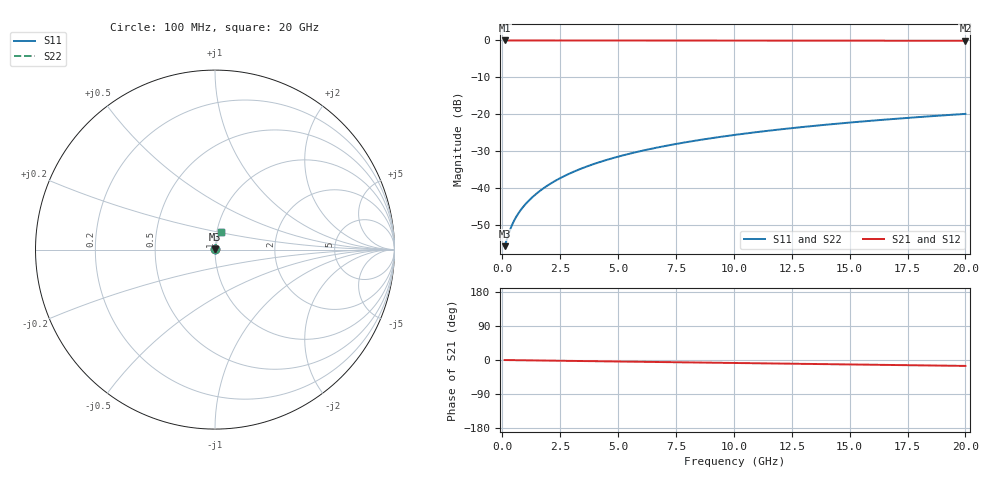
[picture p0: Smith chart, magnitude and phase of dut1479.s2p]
! Touchstone file exported from HFSS 2026.1.0
!  File:  C:/ffzhzh/LocalFiles/Ansys_Project_Files/temp_train_BSMRDL_1479_1783181296_22436.aedt
!  Generated:  12:09:28 AM Jul  5, 2026
!  Design:  BSMRDL
!  Project:  temp_train_BSMRDL_1479_1783181296_22436
! Variables:
!  h_bsmrdl = 2.49um
!  h_ox = 20um
!  h_rdl = 5um
!  h_sub = 80um
!  h_tmrdl = 5um
!  h_tsv = 80um
!  h_via = 3um
!  l_bsmrdl = 227.97um
!  l_sub = 627.97um
!  l_tmrdl = 200um
!  m_sub = 200um
!  pitch = 40.95um
!  r_tsv = 6um
!  s_tmrdl = 10um
!  w_bsmrdl = 28.77um
!  w_sub = 500um
!  w_tmrdl = 12um
!  x_tsv_center1 = 206um
!  x_tsv_center2 = 462.74um
!  x_tsv_center3 = 674.74um
!  x_tsv_center4 = 931.48um
!  x_tsv_center5 = 1143.48um
!  x_tsv_center6 = 1400.22um
# GHz S MA R 50.000000
! Terminal data exported
! Port[1] = BSM_RDL1_1_T1
! Port[2] = BSM_RDL1_1_T2
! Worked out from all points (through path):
!   200 points, 100 MHz to 20 GHz, reference 50 ohm
!   highest |S21| = -0.01 dB at 100 MHz (marker M1); lowest = -0.1 dB at 20 GHz (marker M2)
!   group delay of S21, straight-line fit = 2.17 ps
!   lowest |S11| = -55.6 dB at 100 MHz (marker M3), VSWR 1.00, Z = 50.2 + j0.0685 ohm
!   |S11| at or under -10 dB: start of sweep to end of sweep
!   |S22| runs from -55.6 to -19.9 dB; largest |S21 - S12| = 4.4e-15
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0.1  0.001661 24.3  0.9985 -0.1  0.9985 -0.1  0.001661 24.3
! Gamma 0 0 0 0
! Port Impedance 50 0 50 0
0.3  0.002583 49.5  0.9983 -0.3  0.9983 -0.3  0.002583 49.5
0.4  0.003108 55.1  0.9982 -0.3  0.9982 -0.3  0.003108 55.1
0.5  0.003627 58.9  0.9981 -0.4  0.9981 -0.4  0.003627 58.9
0.6  0.004135 61.7  0.9981 -0.5  0.9981 -0.5  0.004135 61.7
0.8  0.005134 65.9  0.9979 -0.7  0.9979 -0.7  0.005133 65.9
1  0.006125 68.9  0.9979 -0.8  0.9979 -0.8  0.006125 68.9
1.2  0.007122 71.3  0.9978 -1.0  0.9978 -1.0  0.007122 71.3
1.4  0.008128 73.1  0.9978 -1.1  0.9978 -1.1  0.008127 73.1
1.7  0.009653 75.1  0.9977 -1.4  0.9977 -1.4  0.009652 75.1
2.2  0.01223 77.3  0.9976 -1.8  0.9976 -1.8  0.01223 77.3
2.8  0.01535 78.8  0.9975 -2.2  0.9975 -2.2  0.01535 78.8
3.5  0.01902 79.7  0.9974 -2.8  0.9974 -2.8  0.01902 79.7
4.2  0.02269 80.1  0.9972 -3.3  0.9972 -3.3  0.02269 80.1
5  0.02689 80.3  0.9969 -4.0  0.9969 -4.0  0.02689 80.3
5.9  0.03159 80.1  0.9966 -4.7  0.9966 -4.7  0.03159 80.1
6.8  0.03628 79.8  0.9963 -5.4  0.9963 -5.4  0.03628 79.8
8.3  0.04403 79.1  0.9957 -6.6  0.9957 -6.6  0.04403 79.1
10.1  0.05322 78.0  0.9949 -8.0  0.9949 -8.0  0.05322 78.0
13.4  0.06977 75.8  0.9932 -10.5  0.9932 -10.5  0.06977 75.8
16.7  0.08592 73.5  0.9912 -13.1  0.9912 -13.1  0.08592 73.6
20  0.1017 71.2  0.9892 -15.6  0.9892 -15.6  0.1017 71.2
